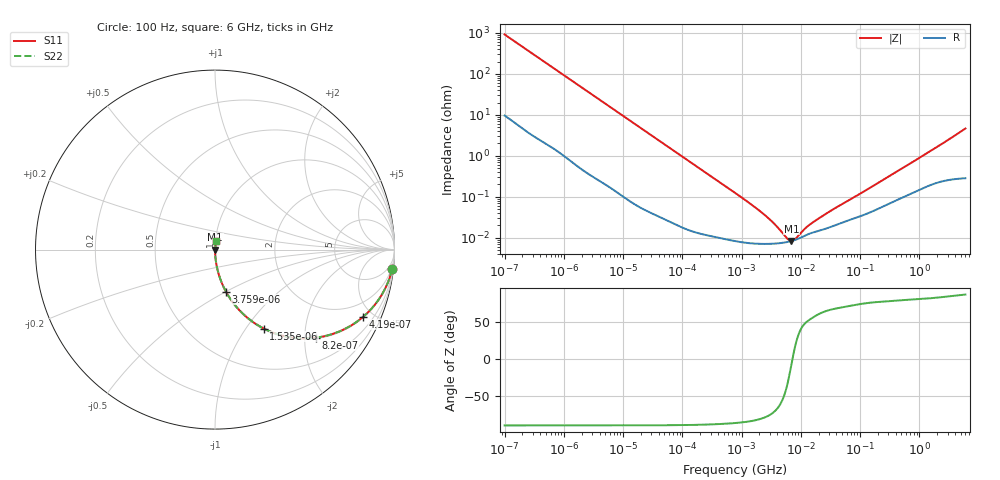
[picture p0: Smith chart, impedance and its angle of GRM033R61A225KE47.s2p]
!Murata Part Number: GRM033R61A225KE47
!These Parameters are Measured in Series Mode Connection
!Data Generated on Mar 30, 2021
!  o--ll--o
!Port1  Port2
!  o------o
!Operation Temp=25[degC], DC Bias Voltage=0[V]
!Freq. Start=100[Hz] Stop=6[GHz] 401[Steps]
# Hz S RI R 50
!Freq.(Hz) S11(Real) S11(Imag) S21(Real) S21(Imag) S12(Real) S12(Imag) S22(Real) S22(Imag)
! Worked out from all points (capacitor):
!   401 points, 100 Hz to 6 GHz, reference 50 ohm
!   read as one part in series: C = 1.73 uF near 109 Hz
!   lowest |Z| = 8.39 mohm at 6.949 MHz (marker M1)
!   series resonance near 7.235 MHz, so ESL is about 280 pH
!   S11 on the Smith chart (normalised r, x): 100 Hz: 1, -18; 419 Hz: 1.05, -4.41; 820 Hz: 1.02, -2.27; 1.535 kHz: 1.01, -1.22; 3.759 kHz: 1.01, -0.50; 6 GHz: 1.01, +0.09
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100  0.9871 -0.1076  0.0129 0.1076  0.0129 0.1076  0.9871 -0.1076
224  0.9422 -0.2284  0.0578 0.2284  0.0578 0.2284  0.9422 -0.2284
419  0.8271 -0.373  0.1729 0.373  0.1729 0.373  0.8271 -0.373
600  0.7031 -0.4515  0.2969 0.4515  0.2969 0.4515  0.7031 -0.4515
820  0.5615 -0.4908  0.4385 0.4908  0.4385 0.4908  0.5615 -0.4908
1122  0.409 -0.4864  0.591 0.4864  0.591 0.4864  0.409 -0.4864
1535  0.272 -0.4399  0.728 0.4399  0.728 0.4399  0.272 -0.4399
2008  0.1806 -0.3797  0.8194 0.3797  0.8194 0.3797  0.1806 -0.3797
3759  0.0608 -0.2338  0.9392 0.2338  0.9392 0.2338  0.0608 -0.2338
10527  0.00893 -0.0889  0.9911 0.0889  0.9911 0.0889  0.00893 -0.0889
40335  0.000884 -0.0236  0.9991 0.0236  0.9991 0.0236  0.000884 -0.0236
774597  8.43e-05 -0.00125  0.9999 0.00125  0.9999 0.00125  8.43e-05 -0.00125
2594782  7.08e-05 -0.000329  0.9999 0.000329  0.9999 0.000329  7.08e-05 -0.000329
3712478  7.22e-05 -0.000194  0.9999 0.000194  0.9999 0.000194  7.22e-05 -0.000194
5554849  7.74e-05 -7.16e-05  0.9999 7.16e-05  0.9999 7.16e-05  7.74e-05 -7.16e-05
6948629  8.32e-05 -1.07e-05  0.9999 1.07e-05  0.9999 1.07e-05  8.32e-05 -1.07e-05
8692127  9.24e-05 4.8e-05  0.9999 -4.8e-05  0.9999 -4.8e-05  9.24e-05 4.8e-05
1.189169e7  0.000113 0.000127  0.9999 -0.000127  0.9999 -0.000127  0.000113 0.000127
1.555665e7  0.000132 0.000189  0.9999 -0.000189  0.9999 -0.000189  0.000132 0.000189
3.330331e7  0.000188 0.000432  0.9998 -0.000432  0.9998 -0.000432  0.000188 0.000432
3.124326e8  0.000694 0.00311  0.9993 -0.00311  0.9993 -0.00311  0.000694 0.00311
6e9  0.00496 0.046  0.995 -0.046  0.995 -0.046  0.00496 0.046
